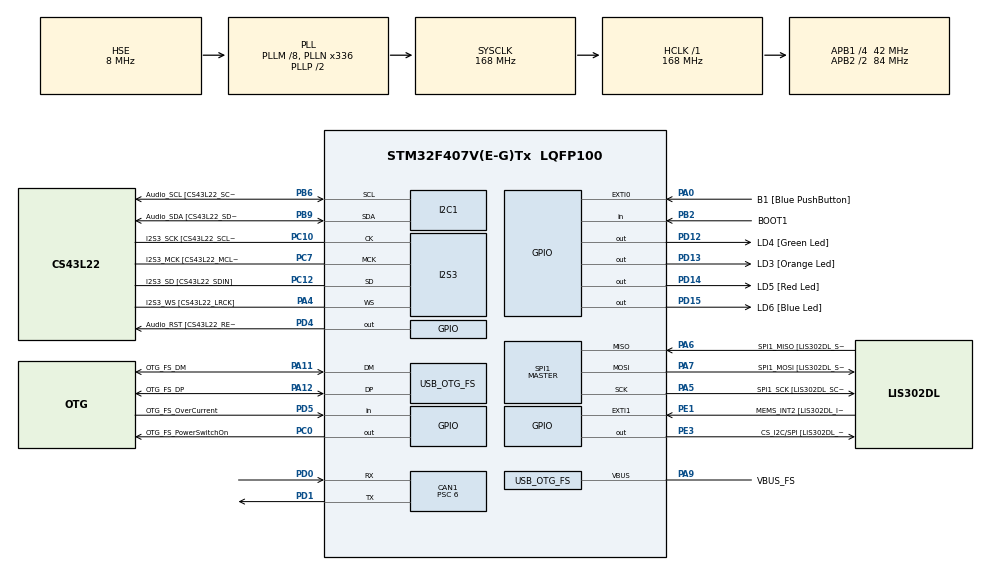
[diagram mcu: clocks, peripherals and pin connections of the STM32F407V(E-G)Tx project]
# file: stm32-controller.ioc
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CAN1.ABOM=ENABLE
CAN1.BS1=CAN_BS1_11TQ
CAN1.BS2=CAN_BS2_2TQ
CAN1.CalculateBaudRate=500000
CAN1.CalculateTimeBit=2000
CAN1.CalculateTimeQuantum=142.85714285714286
CAN1.NART=ENABLE
CAN1.Prescaler=6
I2S3.AudioFreq-Half_Duplex_Master=I2S_AUDIOFREQ_96K
I2S3.ErrorAudioFreq=-2.34 %
I2S3.ErrorAudioFreq-Half_Duplex_Master=0.8 %
I2S3.FullDuplexMode=I2S_FULLDUPLEXMODE_DISABLE
I2S3.Instance=SPI$Index
I2S3.RealAudioFreq=93.75 KHz
I2S3.RealAudioFreq-Half_Duplex_Master=96.774 KHz
I2S3.VirtualMode=I2S_MODE_MASTER
Mcu.Family=STM32F4
Mcu.Name=STM32F407V(E-G)Tx
Mcu.Package=LQFP100
NVIC.CAN1_RX0_IRQn=true\:0\:0\:false\:false\:true\:true\:true\:true
NVIC.OTG_FS_IRQn=true\:0\:0\:false\:false\:true\:true\:true\:true
NVIC.PriorityGroup=NVIC_PRIORITYGROUP_0
PA0-WKUP.GPIO_Label=B1 [Blue PushButton]
PA0-WKUP.GPIO_ModeDefaultEXTI=GPIO_MODE_EVT_RISING
PA0-WKUP.GPIO_PuPd=GPIO_NOPULL
PA0-WKUP.Signal=GPXTI0
PA10.GPIO_Label=OTG_FS_ID
PA10.GPIO_Mode=GPIO_MODE_AF_PP
PA10.GPIO_PuPd=GPIO_NOPULL
PA10.GPIO_Speed=GPIO_SPEED_FREQ_LOW
PA10.Signal=USB_OTG_FS_ID
PA11.GPIO_Label=OTG_FS_DM
PA11.GPIO_Mode=GPIO_MODE_AF_PP
PA11.GPIO_PuPd=GPIO_NOPULL
PA11.GPIO_Speed=GPIO_SPEED_FREQ_LOW
PA11.Mode=Device_Only
PA11.Signal=USB_OTG_FS_DM
PA12.GPIO_Label=OTG_FS_DP
PA12.GPIO_Mode=GPIO_MODE_AF_PP
PA12.GPIO_PuPd=GPIO_NOPULL
PA12.GPIO_Speed=GPIO_SPEED_FREQ_LOW
PA12.Mode=Device_Only
PA12.Signal=USB_OTG_FS_DP
PA13.GPIO_Label=SWDIO
PA13.Mode=Serial_Wire
PA13.Signal=SYS_JTMS-SWDIO
PA14.GPIO_Label=SWCLK
PA14.Mode=Serial_Wire
PA14.Signal=SYS_JTCK-SWCLK
PA4.GPIO_Label=I2S3_WS [CS43L22_LRCK]
PA4.GPIO_Mode=GPIO_MODE_AF_PP
PA4.GPIO_PuPd=GPIO_NOPULL
PA4.GPIO_Speed=GPIO_SPEED_FREQ_LOW
PA4.Mode=Half_Duplex_Master
PA4.Signal=I2S3_WS
PA5.GPIO_Label=SPI1_SCK [LIS302DL_SCL/SPC]
PA5.GPIO_Mode=GPIO_MODE_AF_PP
PA5.GPIO_PuPd=GPIO_NOPULL
PA5.GPIO_Speed=GPIO_SPEED_FREQ_LOW
PA5.Mode=Full_Duplex_Master
PA5.Signal=SPI1_SCK
PA6.GPIO_Label=SPI1_MISO [LIS302DL_SDO]
PA6.GPIO_Mode=GPIO_MODE_AF_PP
PA6.GPIO_PuPd=GPIO_NOPULL
PA6.GPIO_Speed=GPIO_SPEED_FREQ_LOW
PA6.Mode=Full_Duplex_Master
PA6.Signal=SPI1_MISO
PA7.GPIO_Label=SPI1_MOSI [LIS302DL_SDA/SDI/SDO]
PA7.GPIO_Mode=GPIO_MODE_AF_PP
PA7.GPIO_PuPd=GPIO_NOPULL
PA7.GPIO_Speed=GPIO_SPEED_FREQ_LOW
PA7.Mode=Full_Duplex_Master
PA7.Signal=SPI1_MOSI
PA9.GPIO_Label=VBUS_FS
PA9.GPIO_Mode=GPIO_MODE_INPUT
PA9.GPIO_PuPd=GPIO_NOPULL
PA9.Mode=Activate_VBUS
PA9.Signal=USB_OTG_FS_VBUS
PB10.GPIO_Label=CLK_IN [MP45DT02_CLK]
PB10.GPIO_Mode=GPIO_MODE_AF_PP
PB10.GPIO_PuPd=GPIO_NOPULL
PB10.GPIO_Speed=GPIO_SPEED_FREQ_LOW
PB10.Signal=I2S2_CK
PB2.GPIO_Label=BOOT1
PB2.GPIO_Mode=GPIO_MODE_INPUT
PB2.GPIO_PuPd=GPIO_NOPULL
PB2.Signal=GPIO_Input
PB3.GPIO_Label=SWO
PB3.Signal=SYS_JTDO-SWO
PB6.GPIO_Label=Audio_SCL [CS43L22_SCL]
PB6.GPIO_Mode=GPIO_MODE_AF_OD
PB6.GPIO_Pu=GPIO_PULLUP
PB6.GPIO_PuPd=GPIO_NOPULL
PB6.GPIO_Speed=GPIO_SPEED_FREQ_LOW
PB6.Mode=I2C
PB6.Signal=I2C1_SCL
PB9.GPIO_Label=Audio_SDA [CS43L22_SDA]
PB9.GPIO_Mode=GPIO_MODE_AF_OD
PB9.GPIO_Pu=GPIO_PULLUP
PB9.GPIO_PuPd=GPIO_NOPULL
PB9.GPIO_Speed=GPIO_SPEED_FREQ_LOW
PB9.Mode=I2C
PB9.Signal=I2C1_SDA
PC0.GPIO_Label=OTG_FS_PowerSwitchOn
PC0.GPIO_PuPd=GPIO_NOPULL
PC0.GPIO_Speed=GPIO_SPEED_FREQ_LOW
PC0.PinState=GPIO_PIN_SET
PC0.Signal=GPIO_Output
PC10.GPIO_Label=I2S3_SCK [CS43L22_SCLK]
PC10.GPIO_Mode=GPIO_MODE_AF_PP
PC10.GPIO_PuPd=GPIO_NOPULL
PC10.GPIO_Speed=GPIO_SPEED_FREQ_LOW
PC10.Mode=Half_Duplex_Master
PC10.Signal=I2S3_CK
PC12.GPIO_Label=I2S3_SD [CS43L22_SDIN]
PC12.GPIO_Mode=GPIO_MODE_AF_PP
PC12.GPIO_PuPd=GPIO_NOPULL
PC12.GPIO_Speed=GPIO_SPEED_FREQ_LOW
PC12.Mode=Half_Duplex_Master
PC12.Signal=I2S3_SD
PC14-OSC32_IN.GPIO_Label=PC14-OSC32_IN
PC14-OSC32_IN.Mode=LSE-External-Oscillator
PC14-OSC32_IN.Signal=RCC_OSC32_IN
PC15-OSC32_OUT.GPIO_Label=PC15-OSC32_OUT
PC15-OSC32_OUT.Mode=LSE-External-Oscillator
PC15-OSC32_OUT.Signal=RCC_OSC32_OUT
PC3.GPIO_Label=PDM_OUT [MP45DT02_DOUT]
PC3.GPIO_Mode=GPIO_MODE_AF_PP
PC3.GPIO_PuPd=GPIO_NOPULL
PC3.GPIO_Speed=GPIO_SPEED_FREQ_LOW
PC3.Signal=I2S2_SD
PC7.GPIO_Label=I2S3_MCK [CS43L22_MCLK]
PC7.GPIO_Mode=GPIO_MODE_AF_PP
PC7.GPIO_PuPd=GPIO_NOPULL
PC7.GPIO_Speed=GPIO_SPEED_FREQ_LOW
PC7.Mode=Master_Clock_Activated
PC7.Signal=I2S3_MCK
PD0.Mode=CAN_Activate
PD0.Signal=CAN1_RX
PD1.Mode=CAN_Activate
PD1.Signal=CAN1_TX
PD12.GPIO_Label=LD4 [Green Led]
PD12.GPIO_PuPd=GPIO_NOPULL
PD12.GPIO_Speed=GPIO_SPEED_FREQ_LOW
PD12.Signal=GPIO_Output
PD13.GPIO_Label=LD3 [Orange Led]
PD13.GPIO_PuPd=GPIO_NOPULL
PD13.GPIO_Speed=GPIO_SPEED_FREQ_LOW
PD13.Signal=GPIO_Output
PD14.GPIO_Label=LD5 [Red Led]
PD14.GPIO_PuPd=GPIO_NOPULL
PD14.GPIO_Speed=GPIO_SPEED_FREQ_LOW
PD14.Signal=GPIO_Output
PD15.GPIO_Label=LD6 [Blue Led]
PD15.GPIO_PuPd=GPIO_NOPULL
PD15.GPIO_Speed=GPIO_SPEED_FREQ_LOW
PD15.Signal=GPIO_Output
PD4.GPIO_Label=Audio_RST [CS43L22_RESET]
PD4.GPIO_PuPd=GPIO_NOPULL
PD4.GPIO_Speed=GPIO_SPEED_FREQ_LOW
PD4.Signal=GPIO_Output
PD5.GPIO_Label=OTG_FS_OverCurrent
PD5.GPIO_Mode=GPIO_MODE_INPUT
PD5.GPIO_PuPd=GPIO_NOPULL
PD5.Signal=GPIO_Input
PE1.GPIO_Label=MEMS_INT2 [LIS302DL_INT2]
PE1.GPIO_ModeDefaultEXTI=GPIO_MODE_EVT_RISING
PE1.GPIO_PuPd=GPIO_NOPULL
PE1.Signal=GPXTI1
PE3.GPIO_Label=CS_I2C/SPI [LIS302DL_CS_I2C/SPI]
PE3.GPIO_PuPd=GPIO_NOPULL
PE3.GPIO_Speed=GPIO_SPEED_FREQ_LOW
PE3.Signal=GPIO_Output
PH0-OSC_IN.GPIO_Label=PH0-OSC_IN
PH0-OSC_IN.Mode=HSE-External-Oscillator
PH0-OSC_IN.Signal=RCC_OSC_IN
PH1-OSC_OUT.GPIO_Label=PH1-OSC_OUT
PH1-OSC_OUT.Mode=HSE-External-Oscillator
PH1-OSC_OUT.Signal=RCC_OSC_OUT
ProjectManager.HeapSize=0x200
ProjectManager.StackSize=0x400
ProjectManager.TargetToolchain=STM32CubeIDE
RCC.48MHZClocksFreq_Value=48000000
RCC.AHBFreq_Value=168000000
RCC.APB1CLKDivider=RCC_HCLK_DIV4
RCC.APB1Freq_Value=42000000
RCC.APB1TimFreq_Value=84000000
RCC.APB2CLKDivider=RCC_HCLK_DIV2
RCC.APB2Freq_Value=84000000
RCC.APB2TimFreq_Value=168000000
RCC.CortexFreq_Value=168000000
RCC.HCLKFreq_Value=168000000
RCC.HSE_VALUE=8000000
RCC.HSI_VALUE=16000000
RCC.PLLM=8
RCC.PLLN=336
RCC.PLLQ=7
RCC.SYSCLKFreq_VALUE=168000000
RCC.SYSCLKSource=RCC_SYSCLKSOURCE_PLLCLK
RCC.VCOOutputFreq_Value=336000000
SPI1.BaudRatePrescaler-Full_Duplex_Master=SPI_BAUDRATEPRESCALER_2
SPI1.CalculateBaudRate-Full_Duplex_Master=42.0 MBits/s
SPI1.Direction=SPI_DIRECTION_2LINES
SPI1.Mode=SPI_MODE_MASTER
SPI1.Mode-Full_Duplex_Master=SPI_MODE_MASTER
SPI1.VirtualType=VM_MASTER
USB_DEVICE.CLASS_NAME_FS=CDC
USB_DEVICE.VirtualMode-CDC_FS=Cdc
USB_DEVICE.VirtualModeFS=Cdc_FS
USB_OTG_FS.VirtualMode=Device_Only
VP_USB_DEVICE_VS_USB_DEVICE_CDC_FS.Mode=CDC_FS
board=STM32F407G-DISC1

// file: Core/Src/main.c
/* USER CODE BEGIN Header */
/**
  ******************************************************************************
  * @file           : main.c
  * @brief          : Main program body
  ******************************************************************************
  * @attention
  *
  * Copyright (c) 2026 STMicroelectronics.
  * All rights reserved.
  *
  * This software is licensed under terms that can be found in the LICENSE file
  * in the root directory of this software component.
  * If no LICENSE file comes with this software, it is provided AS-IS.
  *
  ******************************************************************************
  */
/* USER CODE END Header */
#include "main.h"
#include "usb_device.h"

/* USER CODE BEGIN Includes */
#include "can_protocol.h"
/* USER CODE END Includes */

CAN_HandleTypeDef hcan1;

I2C_HandleTypeDef hi2c1;

I2S_HandleTypeDef hi2s3;

SPI_HandleTypeDef hspi1;

/* USER CODE BEGIN PV */
CAN_TxHeaderTypeDef TxHeader;
uint8_t TxData[1];
uint32_t TxMailbox;

CAN_RxHeaderTypeDef RxHeader;
uint8_t RxData[8];
volatile uint8_t ack_received = 0;
volatile uint8_t ack_code = 0;

volatile uint8_t  counter_received = 0;
volatile uint16_t counter_value = 0;
/* USER CODE END PV */

void SystemClock_Config(void);
static void MX_GPIO_Init(void);
static void MX_I2C1_Init(void);
static void MX_I2S3_Init(void);
static void MX_SPI1_Init(void);
static void MX_CAN1_Init(void);

/* USER CODE BEGIN 0 */

static void CAN_Filter_Config(void)
{
    CAN_FilterTypeDef f = {0};
    f.FilterBank = 0;
    f.FilterMode = CAN_FILTERMODE_IDMASK;
    f.FilterScale = CAN_FILTERSCALE_32BIT;
    f.FilterIdHigh = 0;
    f.FilterIdLow = 0;
    f.FilterMaskIdHigh = 0;
    f.FilterMaskIdLow = 0;               /* accepte tout */
    f.FilterFIFOAssignment = CAN_RX_FIFO0;
    f.FilterActivation = ENABLE;
    f.SlaveStartFilterBank = 14;
    if (HAL_CAN_ConfigFilter(&hcan1, &f) != HAL_OK) Error_Handler();
}

void HAL_CAN_RxFifo0MsgPendingCallback(CAN_HandleTypeDef *hcan)
{
    if (HAL_CAN_GetRxMessage(hcan, CAN_RX_FIFO0, &RxHeader, RxData) != HAL_OK) return;

    if (RxHeader.StdId == CAN_ID_ACK && RxHeader.DLC >= 1)
    {
        ack_code = RxData[0];      /* 0x01 = ACK_OK */
        ack_received = 1;
    }

    else if (RxHeader.StdId == CAN_ID_COUNTER && RxHeader.DLC >= 2)
    {
        counter_value = ((uint16_t)RxData[0] << 8) | RxData[1];
        counter_received = 1;
    }
}

/* USER CODE END 0 */

int main(void)
{

  /* MCU Configuration--------------------------------------------------------*/

  /* Reset of all peripherals, Initializes the Flash interface and the Systick. */
  HAL_Init();

  /* Configure the system clock */
  SystemClock_Config();

  /* Initialize all configured peripherals */
  MX_GPIO_Init();
  MX_I2C1_Init();
  MX_I2S3_Init();
  MX_SPI1_Init();
  MX_CAN1_Init();
  MX_USB_DEVICE_Init();
  /* USER CODE BEGIN 2 */
  //Can_Filter_Config();

  if (HAL_CAN_Start(&hcan1) != HAL_OK)
  {
      Error_Handler();
  }

  if (HAL_CAN_ActivateNotification(&hcan1, CAN_IT_RX_FIFO0_MSG_PENDING) != HAL_OK)
  {
      Error_Handler();
  }

  TxHeader.StdId = CAN_ID_LED_CMD;
  TxHeader.ExtId = 0;
  TxHeader.IDE = CAN_ID_STD;
  TxHeader.RTR = CAN_RTR_DATA;
  TxHeader.DLC = 1;
  TxHeader.TransmitGlobalTime = DISABLE;

  /* USER CODE END 2 */

  /* Infinite loop */
  while (1)
  {

    /* USER CODE BEGIN 3 */
    TxHeader.StdId = CAN_ID_LED_CMD;     /* 0x100 */
    TxHeader.DLC   = 1;

    TxData[0]      = 0x01;
    HAL_CAN_AddTxMessage(&hcan1, &TxHeader, TxData, &TxMailbox);
    HAL_Delay(1000);

    /* Frame 0x100, DLC 1, DB0 = 0 */
    TxData[0] = 0x00;
    HAL_CAN_AddTxMessage(&hcan1, &TxHeader, TxData, &TxMailbox);
    HAL_Delay(1000);

    /* Frame 0x101, DLC 0, no data */
    counter_received = 0;
    TxHeader.StdId = CAN_ID_VALUE_REQ;   /* 0x101 */
    TxHeader.DLC   = 0;
    HAL_CAN_AddTxMessage(&hcan1, &TxHeader, TxData, &TxMailbox);
    HAL_Delay(1000);
  }
  /* USER CODE END 3 */
}

void SystemClock_Config(void)
{
  RCC_OscInitTypeDef RCC_OscInitStruct = {0};
  RCC_ClkInitTypeDef RCC_ClkInitStruct = {0};

  /** Configure the main internal regulator output voltage
  */
  __HAL_RCC_PWR_CLK_ENABLE();
  __HAL_PWR_VOLTAGESCALING_CONFIG(PWR_REGULATOR_VOLTAGE_SCALE1);

  /** Initializes the RCC Oscillators according to the specified parameters
  * in the RCC_OscInitTypeDef structure.
  */
  RCC_OscInitStruct.OscillatorType = RCC_OSCILLATORTYPE_HSE;
  RCC_OscInitStruct.HSEState = RCC_HSE_ON;
  RCC_OscInitStruct.PLL.PLLState = RCC_PLL_ON;
  RCC_OscInitStruct.PLL.PLLSource = RCC_PLLSOURCE_HSE;
  RCC_OscInitStruct.PLL.PLLM = 8;
  RCC_OscInitStruct.PLL.PLLN = 336;
  RCC_OscInitStruct.PLL.PLLP = RCC_PLLP_DIV2;
  RCC_OscInitStruct.PLL.PLLQ = 7;
  if (HAL_RCC_OscConfig(&RCC_OscInitStruct) != HAL_OK)
  {
    Error_Handler();
  }

  /** Initializes the CPU, AHB and APB buses clocks
  */
  RCC_ClkInitStruct.ClockType = RCC_CLOCKTYPE_HCLK|RCC_CLOCKTYPE_SYSCLK
                              |RCC_CLOCKTYPE_PCLK1|RCC_CLOCKTYPE_PCLK2;
  RCC_ClkInitStruct.SYSCLKSource = RCC_SYSCLKSOURCE_PLLCLK;
  RCC_ClkInitStruct.AHBCLKDivider = RCC_SYSCLK_DIV1;
  RCC_ClkInitStruct.APB1CLKDivider = RCC_HCLK_DIV4;
  RCC_ClkInitStruct.APB2CLKDivider = RCC_HCLK_DIV2;

  if (HAL_RCC_ClockConfig(&RCC_ClkInitStruct, FLASH_LATENCY_5) != HAL_OK)
  {
    Error_Handler();
  }
}

static void MX_CAN1_Init(void)
{

  hcan1.Instance = CAN1;
  hcan1.Init.Prescaler = 6;
  hcan1.Init.Mode = CAN_MODE_NORMAL;
  hcan1.Init.SyncJumpWidth = CAN_SJW_1TQ;
  hcan1.Init.TimeSeg1 = CAN_BS1_11TQ;
  hcan1.Init.TimeSeg2 = CAN_BS2_2TQ;
  hcan1.Init.TimeTriggeredMode = DISABLE;
  hcan1.Init.AutoBusOff = ENABLE;
  hcan1.Init.AutoWakeUp = DISABLE;
  hcan1.Init.AutoRetransmission = ENABLE;
  hcan1.Init.ReceiveFifoLocked = DISABLE;
  hcan1.Init.TransmitFifoPriority = DISABLE;
  if (HAL_CAN_Init(&hcan1) != HAL_OK)
  {
    Error_Handler();
  }

}

static void MX_I2C1_Init(void)
{

  hi2c1.Instance = I2C1;
  hi2c1.Init.ClockSpeed = 100000;
  hi2c1.Init.DutyCycle = I2C_DUTYCYCLE_2;
  hi2c1.Init.OwnAddress1 = 0;
  hi2c1.Init.AddressingMode = I2C_ADDRESSINGMODE_7BIT;
  hi2c1.Init.DualAddressMode = I2C_DUALADDRESS_DISABLE;
  hi2c1.Init.OwnAddress2 = 0;
  hi2c1.Init.GeneralCallMode = I2C_GENERALCALL_DISABLE;
  hi2c1.Init.NoStretchMode = I2C_NOSTRETCH_DISABLE;
  if (HAL_I2C_Init(&hi2c1) != HAL_OK)
  {
    Error_Handler();
  }

}

static void MX_I2S3_Init(void)
{

  hi2s3.Instance = SPI3;
  hi2s3.Init.Mode = I2S_MODE_MASTER_TX;
  hi2s3.Init.Standard = I2S_STANDARD_PHILIPS;
  hi2s3.Init.DataFormat = I2S_DATAFORMAT_16B;
  hi2s3.Init.MCLKOutput = I2S_MCLKOUTPUT_ENABLE;
  hi2s3.Init.AudioFreq = I2S_AUDIOFREQ_96K;
  hi2s3.Init.CPOL = I2S_CPOL_LOW;
  hi2s3.Init.ClockSource = I2S_CLOCK_PLL;
  hi2s3.Init.FullDuplexMode = I2S_FULLDUPLEXMODE_DISABLE;
  if (HAL_I2S_Init(&hi2s3) != HAL_OK)
  {
    Error_Handler();
  }

}

static void MX_SPI1_Init(void)
{

  /* SPI1 parameter configuration*/
  hspi1.Instance = SPI1;
  hspi1.Init.Mode = SPI_MODE_MASTER;
  hspi1.Init.Direction = SPI_DIRECTION_2LINES;
  hspi1.Init.DataSize = SPI_DATASIZE_8BIT;
  hspi1.Init.CLKPolarity = SPI_POLARITY_LOW;
  hspi1.Init.CLKPhase = SPI_PHASE_1EDGE;
  hspi1.Init.NSS = SPI_NSS_SOFT;
  hspi1.Init.BaudRatePrescaler = SPI_BAUDRATEPRESCALER_2;
  hspi1.Init.FirstBit = SPI_FIRSTBIT_MSB;
  hspi1.Init.TIMode = SPI_TIMODE_DISABLE;
  hspi1.Init.CRCCalculation = SPI_CRCCALCULATION_DISABLE;
  hspi1.Init.CRCPolynomial = 10;
  if (HAL_SPI_Init(&hspi1) != HAL_OK)
  {
    Error_Handler();
  }

}

static void MX_GPIO_Init(void)
{
  GPIO_InitTypeDef GPIO_InitStruct = {0};

  /* GPIO Ports Clock Enable */
  __HAL_RCC_GPIOE_CLK_ENABLE();
  __HAL_RCC_GPIOC_CLK_ENABLE();
  __HAL_RCC_GPIOH_CLK_ENABLE();
  __HAL_RCC_GPIOA_CLK_ENABLE();
  __HAL_RCC_GPIOB_CLK_ENABLE();
  __HAL_RCC_GPIOD_CLK_ENABLE();

  /*Configure GPIO pin Output Level */
  HAL_GPIO_WritePin(CS_I2C_SPI_GPIO_Port, CS_I2C_SPI_Pin, GPIO_PIN_RESET);

  /*Configure GPIO pin Output Level */
  HAL_GPIO_WritePin(OTG_FS_PowerSwitchOn_GPIO_Port, OTG_FS_PowerSwitchOn_Pin, GPIO_PIN_SET);

  /*Configure GPIO pin Output Level */
  HAL_GPIO_WritePin(GPIOD, LD4_Pin|LD3_Pin|LD5_Pin|LD6_Pin
                          |Audio_RST_Pin, GPIO_PIN_RESET);

  /*Configure GPIO pin : CS_I2C_SPI_Pin */
  GPIO_InitStruct.Pin = CS_I2C_SPI_Pin;
  GPIO_InitStruct.Mode = GPIO_MODE_OUTPUT_PP;
  GPIO_InitStruct.Pull = GPIO_NOPULL;
  GPIO_InitStruct.Speed = GPIO_SPEED_FREQ_LOW;
  HAL_GPIO_Init(CS_I2C_SPI_GPIO_Port, &GPIO_InitStruct);

  /*Configure GPIO pin : OTG_FS_PowerSwitchOn_Pin */
  GPIO_InitStruct.Pin = OTG_FS_PowerSwitchOn_Pin;
  GPIO_InitStruct.Mode = GPIO_MODE_OUTPUT_PP;
  GPIO_InitStruct.Pull = GPIO_NOPULL;
  GPIO_InitStruct.Speed = GPIO_SPEED_FREQ_LOW;
  HAL_GPIO_Init(OTG_FS_PowerSwitchOn_GPIO_Port, &GPIO_InitStruct);

  /*Configure GPIO pin : PDM_OUT_Pin */
  GPIO_InitStruct.Pin = PDM_OUT_Pin;
  GPIO_InitStruct.Mode = GPIO_MODE_AF_PP;
  GPIO_InitStruct.Pull = GPIO_NOPULL;
  GPIO_InitStruct.Speed = GPIO_SPEED_FREQ_LOW;
  GPIO_InitStruct.Alternate = GPIO_AF5_SPI2;
  HAL_GPIO_Init(PDM_OUT_GPIO_Port, &GPIO_InitStruct);

  /*Configure GPIO pin : B1_Pin */
  GPIO_InitStruct.Pin = B1_Pin;
  GPIO_InitStruct.Mode = GPIO_MODE_EVT_RISING;
  GPIO_InitStruct.Pull = GPIO_NOPULL;
  HAL_GPIO_Init(B1_GPIO_Port, &GPIO_InitStruct);

  /*Configure GPIO pin : BOOT1_Pin */
  GPIO_InitStruct.Pin = BOOT1_Pin;
  GPIO_InitStruct.Mode = GPIO_MODE_INPUT;
  GPIO_InitStruct.Pull = GPIO_NOPULL;
  HAL_GPIO_Init(BOOT1_GPIO_Port, &GPIO_InitStruct);

  /*Configure GPIO pin : CLK_IN_Pin */
  GPIO_InitStruct.Pin = CLK_IN_Pin;
  GPIO_InitStruct.Mode = GPIO_MODE_AF_PP;
  GPIO_InitStruct.Pull = GPIO_NOPULL;
  GPIO_InitStruct.Speed = GPIO_SPEED_FREQ_LOW;
  GPIO_InitStruct.Alternate = GPIO_AF5_SPI2;
  HAL_GPIO_Init(CLK_IN_GPIO_Port, &GPIO_InitStruct);

  /*Configure GPIO pins : LD4_Pin LD3_Pin LD5_Pin LD6_Pin
                           Audio_RST_Pin */
  GPIO_InitStruct.Pin = LD4_Pin|LD3_Pin|LD5_Pin|LD6_Pin
                          |Audio_RST_Pin;
  GPIO_InitStruct.Mode = GPIO_MODE_OUTPUT_PP;
  GPIO_InitStruct.Pull = GPIO_NOPULL;
  GPIO_InitStruct.Speed = GPIO_SPEED_FREQ_LOW;
  HAL_GPIO_Init(GPIOD, &GPIO_InitStruct);

  /*Configure GPIO pin : OTG_FS_OverCurrent_Pin */
  GPIO_InitStruct.Pin = OTG_FS_OverCurrent_Pin;
  GPIO_InitStruct.Mode = GPIO_MODE_INPUT;
  GPIO_InitStruct.Pull = GPIO_NOPULL;
  HAL_GPIO_Init(OTG_FS_OverCurrent_GPIO_Port, &GPIO_InitStruct);

  /*Configure GPIO pin : MEMS_INT2_Pin */
  GPIO_InitStruct.Pin = MEMS_INT2_Pin;
  GPIO_InitStruct.Mode = GPIO_MODE_EVT_RISING;
  GPIO_InitStruct.Pull = GPIO_NOPULL;
  HAL_GPIO_Init(MEMS_INT2_GPIO_Port, &GPIO_InitStruct);

}

void Error_Handler(void)
{
  __disable_irq();
  while (1)
  {
  }
}
